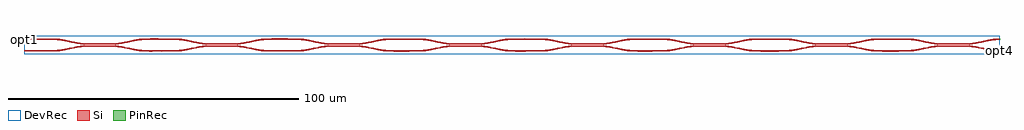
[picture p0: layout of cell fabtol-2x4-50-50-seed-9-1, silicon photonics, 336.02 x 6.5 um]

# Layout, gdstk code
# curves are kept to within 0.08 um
import gdstk
lib = gdstk.Library(unit=1e-6, precision=1e-09)
def R(c, l, rs):  # rectangles x0, y0, x1, y1
    for r in rs: c.add(gdstk.rectangle(r[:2], r[2:], *l))
def P(c, l, *ps):  # polygons
    for p in ps: c.add(gdstk.Polygon(p, *l))
Si = (1, 0)
PinRec = (1, 10)
DevRec = (68, 0)

layer_0_0_phase_sec_0_2 = lib.new_cell('layer-0_0_phase_sec_0$2')
P(layer_0_0_phase_sec_0_2, Si, [(4.146,-0.229),(0,-0.225),(0,0.225),(10,0.225),(10,-0.225)])

layer_0_0_phase_sec_1_2 = lib.new_cell('layer-0_0_phase_sec_1$2')
P(layer_0_0_phase_sec_1_2, Si, [(4.016,-0.229),(0,-0.225),(0,0.225),(10,0.225),(10,-0.225)])

layer_3_0_phase_sec_0_2 = lib.new_cell('layer-3_0_phase_sec_0$2')
P(layer_3_0_phase_sec_0_2, Si, [(3.109,-0.236),(0,-0.225),(0,0.225),(10,0.225),(10,-0.225)])

dc_arm_down_2 = lib.new_cell('dc_arm_down$2')
R(dc_arm_down_2, Si, [(12,-0.55,20,-0.1)])
P(dc_arm_down_2, Si, [(32,-2.225),(30.861,-2.188),(29.344,-2.033),(22.966,-0.793),(21.481,-0.613),(20,-0.55),(20,-0.1),(21.139,-0.137),(22.656,-0.292),(29.034,-1.532),(30.519,-1.712),(32,-1.775)],
  [(0,-2.225),(0,-1.775),(1.481,-1.712),(2.966,-1.532),(9.344,-0.292),(10.861,-0.137),(12,-0.1),(12,-0.55),(10.519,-0.613),(9.034,-0.793),(2.656,-2.033),(1.139,-2.188)])

dc_arm_up_2 = lib.new_cell('dc_arm_up$2')
R(dc_arm_up_2, Si, [(12,0.1,20,0.55)])
P(dc_arm_up_2, Si, [(20,0.1),(20,0.55),(21.481,0.613),(22.966,0.793),(29.344,2.033),(30.861,2.188),(32,2.225),(32,1.775),(30.519,1.712),(29.034,1.532),(22.656,0.292),(21.139,0.137)],
  [(12,0.1),(10.861,0.137),(9.344,0.292),(2.966,1.532),(1.481,1.712),(0,1.775),(0,2.225),(1.139,2.188),(2.656,2.033),(9.034,0.793),(10.519,0.613),(12,0.55)])

dc_2 = lib.new_cell('dc$2')
dc_2.add(gdstk.Reference(dc_arm_down_2, (0,0)))
dc_2.add(gdstk.Reference(dc_arm_up_2, (0,0)))

layer_0_0_phase_sec_2_2 = lib.new_cell('layer-0_0_phase_sec_2$2')
P(layer_0_0_phase_sec_2_2, Si, [(4.128,-0.242),(0,-0.225),(0,0.225),(10,0.225),(10,-0.225)])

layer_3_0_phase_sec_2_2 = lib.new_cell('layer-3_0_phase_sec_2$2')
P(layer_3_0_phase_sec_2_2, Si, [(5.961,-0.228),(0,-0.225),(0,0.225),(10,0.225),(10,-0.225)])

layer_0_0_phase_sec_3_2 = lib.new_cell('layer-0_0_phase_sec_3$2')
P(layer_0_0_phase_sec_3_2, Si, [(2.192,-0.238),(0,-0.225),(0,0.225),(10,0.225),(10,-0.225)])

layer_1_0_phase_sec_1_2 = lib.new_cell('layer-1_0_phase_sec_1$2')
P(layer_1_0_phase_sec_1_2, Si, [(1.382,-0.227),(0,-0.225),(0,0.225),(10,0.225),(10,-0.225)])

layer_3_0_phase_sec_1_2 = lib.new_cell('layer-3_0_phase_sec_1$2')
P(layer_3_0_phase_sec_1_2, Si, [(7.822,-0.242),(0,-0.225),(0,0.225),(10,0.225),(10,-0.225)])

layer_1_0_phase_sec_2_2 = lib.new_cell('layer-1_0_phase_sec_2$2')
P(layer_1_0_phase_sec_2_2, Si, [(2.347,-0.23),(0,-0.225),(0,0.225),(10,0.225),(10,-0.225)])

layer_1_0_phase_sec_3_2 = lib.new_cell('layer-1_0_phase_sec_3$2')
P(layer_1_0_phase_sec_3_2, Si, [(6.545,-0.246),(0,-0.225),(0,0.225),(10,0.225),(10,-0.225)])

layer_1_0_phase_sec_0_2 = lib.new_cell('layer-1_0_phase_sec_0$2')
P(layer_1_0_phase_sec_0_2, Si, [(5.417,-0.251),(0,-0.225),(0,0.225),(10,0.225),(10,-0.225)])

layer_2_0_phase_sec_3_2 = lib.new_cell('layer-2_0_phase_sec_3$2')
P(layer_2_0_phase_sec_3_2, Si, [(6.315,-0.249),(0,-0.225),(0,0.225),(10,0.225),(10,-0.225)])

layer_3_0_phase_sec_3_2 = lib.new_cell('layer-3_0_phase_sec_3$2')
P(layer_3_0_phase_sec_3_2, Si, [(7.199,-0.248),(0,-0.225),(0,0.225),(10,0.225),(10,-0.225)])

layer_2_0_phase_sec_0_2 = lib.new_cell('layer-2_0_phase_sec_0$2')
P(layer_2_0_phase_sec_0_2, Si, [(4.359,-0.239),(0,-0.225),(0,0.225),(10,0.225),(10,-0.225)])

layer_2_0_phase_sec_1_2 = lib.new_cell('layer-2_0_phase_sec_1$2')
P(layer_2_0_phase_sec_1_2, Si, [(3.601,-0.241),(0,-0.225),(0,0.225),(10,0.225),(10,-0.225)])

layer_2_0_phase_sec_2_2 = lib.new_cell('layer-2_0_phase_sec_2$2')
P(layer_2_0_phase_sec_2_2, Si, [(1.055,-0.227),(0,-0.225),(0,0.225),(10,0.225),(10,-0.225)])

fabtol_2x4_50_50_seed_9_ = lib.new_cell('fabtol-2x4-50-50-seed-9-1')
R(fabtol_2x4_50_50_seed_9_, DevRec, [(0,-1,336,5.5)])
fabtol_2x4_50_50_seed_9_.add(gdstk.FlexPath([(335.99,0.249),(336.01,0.249)], 0.45, ends="flush", simple_path=True, layer=1, datatype=10))  # PinRec
fabtol_2x4_50_50_seed_9_.add(gdstk.FlexPath([(335.99,4.249),(336.01,4.249)], 0.45, ends="flush", simple_path=True, layer=1, datatype=10))  # PinRec
fabtol_2x4_50_50_seed_9_.add(gdstk.FlexPath([(0.01,4.249),(-0.01,4.249)], 0.45, ends="flush", simple_path=True, layer=1, datatype=10))  # PinRec
fabtol_2x4_50_50_seed_9_.add(gdstk.Reference(layer_0_0_phase_sec_0_2, (0,4.249)))
fabtol_2x4_50_50_seed_9_.add(gdstk.Reference(layer_0_0_phase_sec_1_2, (0,0.249)))
fabtol_2x4_50_50_seed_9_.add(gdstk.Reference(layer_3_0_phase_sec_0_2, (252,4.249)))
fabtol_2x4_50_50_seed_9_.add(gdstk.Reference(dc_2, (10,2.249)))
fabtol_2x4_50_50_seed_9_.add(gdstk.Reference(dc_2, (52,2.249)))
fabtol_2x4_50_50_seed_9_.add(gdstk.Reference(dc_2, (94,2.249)))
fabtol_2x4_50_50_seed_9_.add(gdstk.Reference(dc_2, (136,2.249)))
fabtol_2x4_50_50_seed_9_.add(gdstk.Reference(dc_2, (178,2.249)))
fabtol_2x4_50_50_seed_9_.add(gdstk.Reference(dc_2, (220,2.249)))
fabtol_2x4_50_50_seed_9_.add(gdstk.Reference(dc_2, (262,2.249)))
fabtol_2x4_50_50_seed_9_.add(gdstk.Reference(dc_2, (304,2.249)))
fabtol_2x4_50_50_seed_9_.add(gdstk.Reference(layer_0_0_phase_sec_2_2, (42,4.249)))
fabtol_2x4_50_50_seed_9_.add(gdstk.Reference(layer_3_0_phase_sec_2_2, (294,4.249)))
fabtol_2x4_50_50_seed_9_.add(gdstk.Reference(layer_0_0_phase_sec_3_2, (42,0.249)))
fabtol_2x4_50_50_seed_9_.add(gdstk.Reference(layer_1_0_phase_sec_1_2, (84,0.249)))
fabtol_2x4_50_50_seed_9_.add(gdstk.Reference(layer_3_0_phase_sec_1_2, (252,0.249)))
fabtol_2x4_50_50_seed_9_.add(gdstk.Reference(layer_1_0_phase_sec_2_2, (126,4.249)))
fabtol_2x4_50_50_seed_9_.add(gdstk.Reference(layer_1_0_phase_sec_3_2, (126,0.249)))
fabtol_2x4_50_50_seed_9_.add(gdstk.Reference(layer_1_0_phase_sec_0_2, (84,4.249)))
fabtol_2x4_50_50_seed_9_.add(gdstk.Reference(layer_2_0_phase_sec_3_2, (210,0.249)))
fabtol_2x4_50_50_seed_9_.add(gdstk.Reference(layer_3_0_phase_sec_3_2, (294,0.249)))
fabtol_2x4_50_50_seed_9_.add(gdstk.Reference(layer_2_0_phase_sec_0_2, (168,4.249)))
fabtol_2x4_50_50_seed_9_.add(gdstk.Reference(layer_2_0_phase_sec_1_2, (168,0.249)))
fabtol_2x4_50_50_seed_9_.add(gdstk.Reference(layer_2_0_phase_sec_2_2, (210,4.249)))
fabtol_2x4_50_50_seed_9_.add(gdstk.Label('opt4', (336,0.249), layer=1, texttype=10))
fabtol_2x4_50_50_seed_9_.add(gdstk.Label('opt3', (336,4.249), layer=1, texttype=10))
fabtol_2x4_50_50_seed_9_.add(gdstk.Label('opt1', (0,4.249), layer=1, texttype=10))

lib.write_gds('fabtol-2x4-50-50-seed-9-1.gds')
